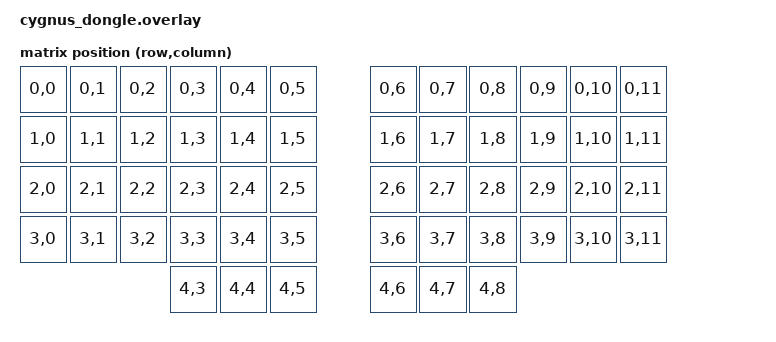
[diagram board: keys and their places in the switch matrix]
#include <dt-bindings/zmk/matrix_transform.h>

/ {
    chosen {
        zmk,kscan = &mock_kscan;
        zmk,matrix_transform = &default_transform;
    };
 aliases {
        led-red = &led0;
        led-green = &led1;
        led-blue = &led2;
    };

    leds {
        compatible = "gpio-leds";
        status = "okay";
        led0: led_0 {
            gpios = <&gpio0 17 GPIO_ACTIVE_LOW>;  // red LED, connected to P0.16
        };
        led1: led_1 {
            gpios = <&gpio0 8 GPIO_ACTIVE_LOW>;  // green LED, connected to P0.08
        };
        led2: led_2 {
            gpios = <&gpio0 6 GPIO_ACTIVE_LOW>;  // blue LED, connected to P0.06
        };
  };
    // 关键：定义一个虚拟扫描器，不分配任何引脚
    mock_kscan: kscan_mock {
        compatible = "zmk,kscan-mock";
        columns = <12>; // 对应左右手总列数 (6x2)
        rows = <5>;    // 对应行数
        events = <0>;
    };

    // 保持和主键盘一致的布局转换
    default_transform: keymap_transform_0 {
        compatible = "zmk,matrix-transform";
        columns = <12>;
        rows = <4>;
        map = <
          RC(0,0) RC(0,1) RC(0,2) RC(0,3) RC(0,4) RC(0,5)     RC(0,6) RC(0,7) RC(0,8) RC(0,9) RC(0,10) RC(0,11)
          RC(1,0) RC(1,1) RC(1,2) RC(1,3) RC(1,4) RC(1,5)     RC(1,6) RC(1,7) RC(1,8) RC(1,9) RC(1,10) RC(1,11)
          RC(2,0) RC(2,1) RC(2,2) RC(2,3) RC(2,4) RC(2,5)     RC(2,6) RC(2,7) RC(2,8) RC(2,9) RC(2,10) RC(2,11)
          RC(3,0) RC(3,1) RC(3,2) RC(3,3) RC(3,4) RC(3,5)     RC(3,6) RC(3,7) RC(3,8) RC(3,9) RC(3,10) RC(3,11)
                                  RC(4,3) RC(4,4) RC(4,5)     RC(4,6) RC(4,7) RC(4,8)
            >;
    };
};
